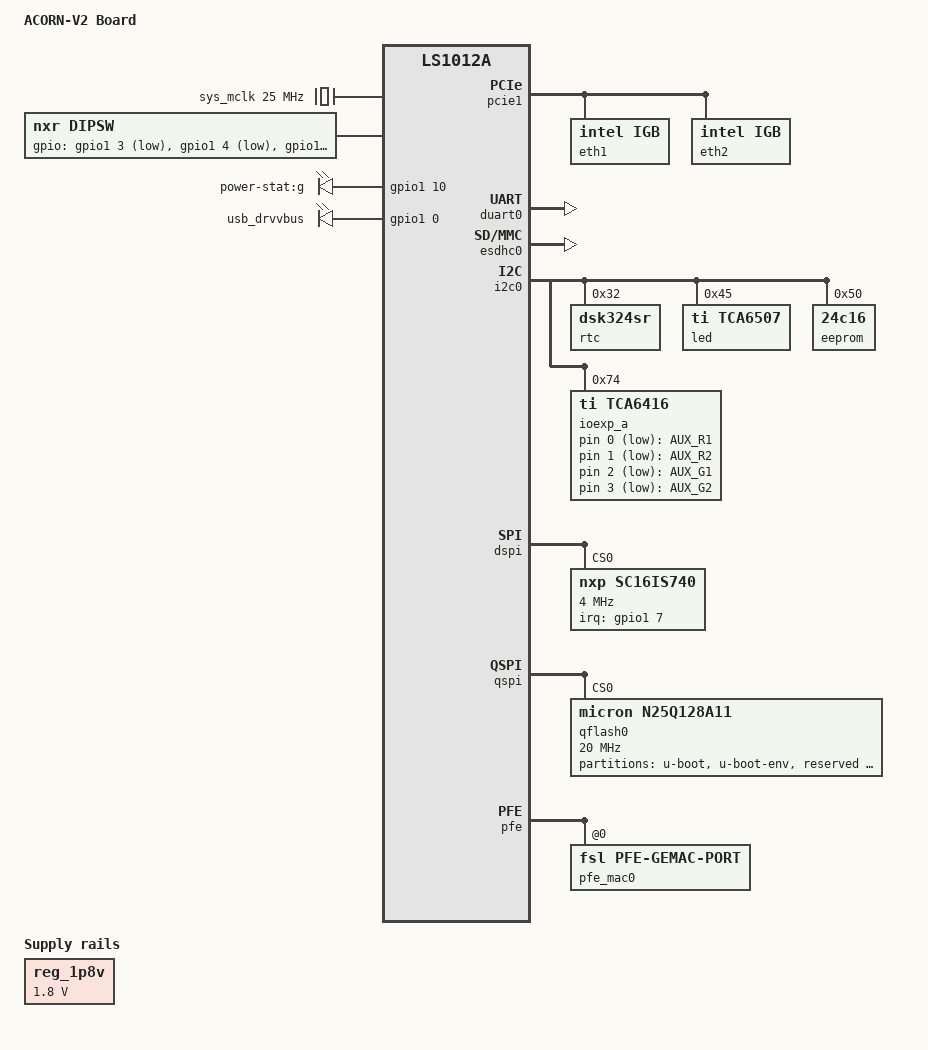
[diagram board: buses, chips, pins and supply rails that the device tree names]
/*
 * Device Tree file for NXP LS1012A FRWY Board.
 *
 * Copyright 2018 NXP
 *
 * This file is dual-licensed: you can use it either under the terms
 * of the GPLv2 or the X11 license, at your option. Note that this dual
 * licensing only applies to this file, and not this project as a
 * whole.
 *
 *  a) This library is free software; you can redistribute it and/or
 *     modify it under the terms of the GNU General Public License as
 *     published by the Free Software Foundation; either version 2 of the
 *     License, or (at your option) any later version.
 *
 *     This library is distributed in the hope that it will be useful,
 *     but WITHOUT ANY WARRANTY; without even the implied warranty of
 *     MERCHANTABILITY or FITNESS FOR A PARTICULAR PURPOSE.  See the
 *     GNU General Public License for more details.
 *
 * Or, alternatively,
 *
 *  b) Permission is hereby granted, free of charge, to any person
 *     obtaining a copy of this software and associated documentation
 *     files (the "Software"), to deal in the Software without
 *     restriction, including without limitation the rights to use,
 *     copy, modify, merge, publish, distribute, sublicense, and/or
 *     sell copies of the Software, and to permit persons to whom the
 *     Software is furnished to do so, subject to the following
 *     conditions:
 *
 *     The above copyright notice and this permission notice shall be
 *     included in all copies or substantial portions of the Software.
 *
 *     THE SOFTWARE IS PROVIDED "AS IS", WITHOUT WARRANTY OF ANY KIND,
 *     EXPRESS OR IMPLIED, INCLUDING BUT NOT LIMITED TO THE WARRANTIES
 *     OF MERCHANTABILITY, FITNESS FOR A PARTICULAR PURPOSE AND
 *     NONINFRINGEMENT. IN NO EVENT SHALL THE AUTHORS OR COPYRIGHT
 *     HOLDERS BE LIABLE FOR ANY CLAIM, DAMAGES OR OTHER LIABILITY,
 *     WHETHER IN AN ACTION OF CONTRACT, TORT OR OTHERWISE, ARISING
 *     FROM, OUT OF OR IN CONNECTION WITH THE SOFTWARE OR THE USE OR
 *     OTHER DEALINGS IN THE SOFTWARE.
 */
/dts-v1/;

#include <dt-bindings/gpio/gpio.h>
#include <dt-bindings/net/ti-dp83867.h>
#include "fsl-ls1012a.dtsi"

/ {
	model = "ACORN-V2 Board";
	compatible = "acorn", "fsl,ls1012a";

	aliases {
		ethernet0 = &pfe_mac0;
		ethernet1 = &eth1;
		ethernet2 = &eth2;
	};

	sys_mclk: clock-mclk {
		compatible = "fixed-clock";
		#clock-cells = <0>;
		clock-frequency = <25000000>;
	};

	reg_1p8v: regulator-1p8v {
		compatible = "regulator-fixed";
		regulator-name = "1P8V";
		regulator-min-microvolt = <1800000>;
		regulator-max-microvolt = <1800000>;
		regulator-always-on;
	};

	dipsw: dipsw {
		compatible = "nxr,dipsw";
		status = "ok";

		gpios = <&gpio1 3 GPIO_ACTIVE_LOW
			&gpio1 4 GPIO_ACTIVE_LOW
			&gpio1 5 GPIO_ACTIVE_LOW
			&gpio1 6 GPIO_ACTIVE_LOW>;
	};

	leds_system: leds_system {
		compatible = "gpio-leds";
		status = "ok";

		led@1 {
			label = "power-stat:g";
			gpios = <&gpio1 10 GPIO_ACTIVE_HIGH>;
			default-state = "on";
		};

		led@2 {
			label = "AUX_R1";
			gpios = <&ioexp_a 0 GPIO_ACTIVE_LOW>;
		};

		led@3 {
			label = "AUX_R2";
			gpios = <&ioexp_a 1 GPIO_ACTIVE_LOW>;
		};

		led@4 {
			label = "AUX_G1";
			gpios = <&ioexp_a 2 GPIO_ACTIVE_LOW>;
		};

		led@5 {
			label = "AUX_G2";
			gpios = <&ioexp_a 3 GPIO_ACTIVE_LOW>;
		};

		usb_drvvbus {
			label = "usb_drvvbus";
			gpios = <&gpio1 0 GPIO_ACTIVE_HIGH>;
			default-state = "on";
		};
	};
};

&pcie1 {
	status = "okay";

	pci_root: root@0,0 {
		reg = <0x00000000 0 0 0 0>;
		#address-cells = <3>;
		#size-cells = <2>;

		bridge@1,0 {
			reg = <0x00010000 0 0 0 0>;
			#address-cells = <3>;
			#size-cells = <2>;

			bridge@2,1 {
				reg = <0x00020800 0 0 0 0>;
				#address-cells = <3>;
				#size-cells = <2>;

				eth1: eth1@3 {
					compatible = "intel,igb";
					reg = <0x00030000 0 0 0 0>;
					#address-cells = <3>;
					#size-cells = <2>;
					mac-address = [ 00 80 6d 01 23 45 ];
				};
			};

			bridge@2,2 {
				reg = <0x00021000 0 0 0 0>;
				#address-cells = <3>;
				#size-cells = <2>;

				eth2: eth2@4 {
					compatible = "intel,igb";
					reg = <0x00040000 0 0 0 0>;
					#address-cells = <3>;
					#size-cells = <2>;
					mac-address = [ 00 80 6d 01 23 46 ];
				};
			};
		};
	};
};

&duart0 {
	clocks = <&clockgen 4 3>;
	status = "okay";
};

&esdhc0 {
	clocks = <&clockgen 4 1>;
	broken-cd;
	status = "okay";
};

&esdhc1 {
	status = "disabled";
};

&i2c0 {
	status = "okay";

	rtc@32 {
		compatible = "dsk324sr";
		reg = <0x32>;
	};

	led@45 {
		compatible = "ti,tca6507";
		#address-cells = <1>;
		#size-cells = <0>;
		reg = <0x45>;

		/* LEDs on Main board */
		led0: power-status-red@0 {
			label = "power-stat:r";
			reg = <0x0>;
		};

		led1: system-status1-red@1 {
			label = "system-status1:r";
			linux,default-trigger = "heartbeat";
			reg = <0x1>;
		};

		led2: system-status2-red@2 {
			label = "system-status2:r";
			reg = <0x2>;
		};

		led3: system-status3-red@3 {
			label = "system-status3:r";
			reg = <0x3>;
		};

		led4: system-status1-green@4 {
			label = "system-status1:g";
			reg = <0x4>;
		};

		led5: system-status2-green@5 {
			label = "system-status2:g";
			reg = <0x5>;
		};

		led6: system-status3-green@6 {
			label = "system-status3:g";
			reg = <0x6>;
		};
	};

	eeprom@50 {
		compatible = "24c16";
		reg = <0x50>;
	};

	ioexp_a: gpio@74 {
		compatible = "ti,tca6416";
		reg = <0x74>;
		gpio-controller;
		#gpio-cells = <2>;
	};
};

&dspi {
	bus-num = <0>;
	status = "okay";

	sc16is740: sc16is740@0 {
		compatible = "nxp,sc16is740";
		reg = <0>;
		spi-max-frequency = <4000000>;
		clocks = <&clk24m>;
		interrupt-parent = <&gpio1>;
		interrupts = <7 2>;
		clk24m: oscillator {
			#clock-cells = <0>;
			compatible = "fixed-clock";
			clock-frequency = <24000000>;
		};

	};
};

&qspi {
	num-cs = <1>;
	bus-num = <0>;
	clocks = <&clockgen 4 1>, <&clockgen 4 1>;
	status = "okay";

	qflash0: n25q128a11@0 {
		compatible = "micron,n25q128a11";
		#address-cells = <1>;
		#size-cells = <1>;
		spi-max-frequency = <20000000>;
		m25p,fast-read;
		reg = <0>;
		spi-rx-bus-width = <2>;
		spi-tx-bus-width = <2>;

		/* MTD partition table */
		partition@0 {
			label = "u-boot";
			reg = <0x00000000 0x00200000>;
		};

		partition@1 {
			label = "u-boot-env";
			reg = <0x00200000 0x00080000>;
		};

		partition@2 {
			label = "reserved";
			reg = <0x00280000 0x00080000>;
		};

		partition@3 {
			label = "oops";
			reg = <0x00300000 0x00200000>;
		};

		barebox_env: partition@4 {
			label = "barebox.env";
			reg = <0x00500000 0x00080000>;
		};

		barebox_bin: partition@5 {
			label = "barebox.bin";
			reg = <0x00580000 0x00180000>;
		};

		hist_firmup: partition@6 {
			label = "hist_firmup";
			reg = <0x00700000 0x00080000>;
		};

		hist_boot: partition@7 {
			label = "hist_boot";
			reg = <0x00780000 0x00080000>;
		};
	};
};

&pfe {
	status = "okay";
	#address-cells = <1>;
	#size-cells = <0>;
//	clocks = <&clockgen 4 0>;

	pfe_mac0: ethernet@0 {
		compatible = "fsl,pfe-gemac-port";
		#address-cells = <1>;
		#size-cells = <0>;
		reg = <0x0>;	/* GEM_ID */
		fsl,gemac-bus-id = <0x0>;	/* BUS_ID */
		fsl,mdio-mux-val = <0x0>;
		phy-mode = "sgmii";

		fixed-link {
			speed = <1000>;
			full-duplex;
		};
	};
};
